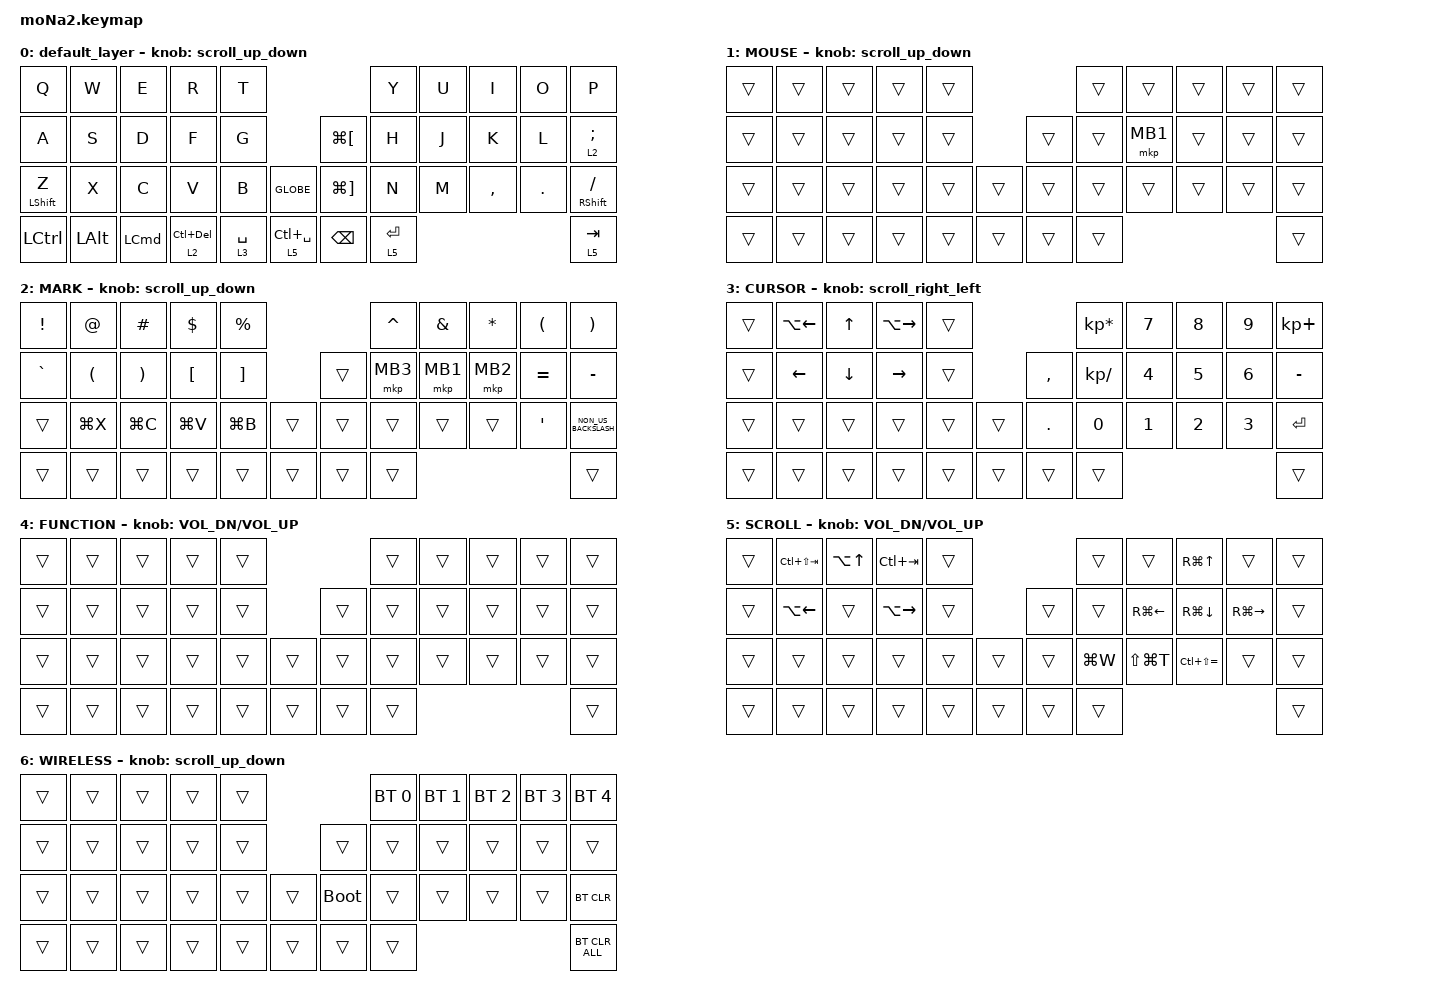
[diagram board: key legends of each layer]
#include <input/processors.dtsi>
#include <dt-bindings/zmk/input_transform.h>
#include <zephyr/dt-bindings/input/input-event-codes.h>
#include <behaviors.dtsi>
#include <dt-bindings/zmk/bt.h>
#include <dt-bindings/zmk/keys.h>
#include <dt-bindings/zmk/pointing.h>

#define ZMK_POINTING_DEFAULT_SCRL_VAL 100
#define MOUSE 1
#define MARK 2
#define CURSOR 3
#define FUNCTION 4
#define SCROLL 5
#define WIRELESS 6

&mt {
    flavor = "balanced";
    quick-tap-ms = <0>;
};

&lt {
    quick-tap-ms = <300>;
    flavor = "balanced";
};

/ {
    input_processors {
        zip_wheel_scaler: zip_wheel_scaler {
            compatible = "zmk,input-processor-scaler";
            #input-processor-cells = <2>;
            type = <INPUT_EV_REL>;
            codes = <INPUT_REL_WHEEL>;
            track-remainders;
        };
    };
};

&trackball_central_listener {
    scroller {
        layers = <SCROLL>;
        input-processors = <&zip_xy_to_scroll_mapper>, <&zip_wheel_scaler 1 2>;
    };
};

/ {
    combos {
        compatible = "zmk,combos";

        layer6_ESC {
            bindings = <&lt 6 ESC>;
            key-positions = <39 38>;
        };

        MiddleClick {
            bindings = <&mkp MB3>;
            key-positions = <17 18>;
        };

        RightClick {
            bindings = <&mkp MB2>;
            key-positions = <18 19>;
        };

        Hankaku {
            bindings = <&kp LC(SPACE)>;
            key-positions = <33 37>;
            timeout-ms = <50>;
        };
    };

    macros {
        to_layer_0: to_layer_0 {
            compatible = "zmk,behavior-macro-one-param";
            #binding-cells = <1>;
            bindings = <&to 0 &macro_param_1to1 &kp MACRO_PLACEHOLDER>;
            label = "TO_LAYER_0";
        };
    };

    behaviors {
        lt_to_layer_0: lt_to_layer_0 {
            compatible = "zmk,behavior-hold-tap";
            label = "LAYER_TAP_TO_0";
            bindings = <&mo>, <&to_layer_0>;

            #binding-cells = <2>;
            tapping-term-ms = <200>;
            flavor = "tap-preferred";
        };

        lt_space: lt_space {
            compatible = "zmk,behavior-hold-tap";
            label = "LT_SPACE";
            bindings = <&mo>, <&kp>;

            #binding-cells = <2>;
            tapping-term-ms = <230>;
            flavor = "tap-preferred";
        };

        scroll_up_down: mouse_wheel_up_down {
            compatible = "zmk,behavior-sensor-rotate";
            #sensor-binding-cells = <0>;
            bindings = <&msc SCRL_UP>, <&msc SCRL_DOWN>;

            tap-ms = <20>;
        };

        scroll_right_left: mouse_wheel_right_left {
            compatible = "zmk,behavior-sensor-rotate";
            #sensor-binding-cells = <0>;
            bindings = <&msc SCRL_LEFT>, <&msc SCRL_RIGHT>;

            tap-ms = <20>;
        };
    };

    keymap {
        compatible = "zmk,keymap";

        default_layer {
            bindings = <
&kp Q             &kp W         &kp E             &kp R                        &kp T                                                                   &kp Y                   &kp U  &kp I      &kp O    &kp P
&kp A             &kp S         &kp D             &kp F                        &kp G                                            &kp LG(LEFT_BRACKET)   &kp H                   &kp J  &kp K      &kp L    &lt_to_layer_0 2 SEMICOLON
&mt LEFT_SHIFT Z  &kp X         &kp C             &kp V                        &kp B              &kp GLOBE                     &kp LG(RIGHT_BRACKET)  &kp N                   &kp M  &kp COMMA  &kp DOT  &mt RIGHT_SHIFT SLASH
&kp LCTRL         &kp LEFT_ALT  &kp LEFT_COMMAND  &lt_to_layer_0 2 LC(DELETE)  &lt_space 3 SPACE  &lt_to_layer_0 5 LC(SPACE)    &kp BACKSPACE          &lt_to_layer_0 5 ENTER                             &lt_to_layer_0 5 TAB
            >;

            sensor-bindings = <&scroll_up_down>;
        };

        MOUSE {
            bindings = <
&trans  &trans  &trans  &trans  &trans                    &trans  &trans    &trans  &trans  &trans
&trans  &trans  &trans  &trans  &trans            &trans  &trans  &mkp MB1  &trans  &trans  &trans
&trans  &trans  &trans  &trans  &trans  &trans    &trans  &trans  &trans    &trans  &trans  &trans
&trans  &trans  &trans  &trans  &trans  &trans    &trans  &trans                            &trans
            >;

            sensor-bindings = <&scroll_up_down>;
        };

        MARK {
            bindings = <
&kp EXCLAMATION  &kp AT_SIGN           &kp POUND              &kp DOLLAR        &kp PERCENT                          &kp CARET  &kp AMPERSAND  &kp ASTERISK  &kp LEFT_PARENTHESIS  &kp RIGHT_PARENTHESIS
&kp GRAVE        &kp LEFT_PARENTHESIS  &kp RIGHT_PARENTHESIS  &kp LEFT_BRACKET  &kp RIGHT_BRACKET            &trans  &mkp MB3   &mkp MB1       &mkp MB2      &kp EQUAL             &kp MINUS
&trans           &kp LG(X)             &kp LG(C)              &kp LG(V)         &kp LG(B)          &trans    &trans  &trans     &trans         &trans        &kp SQT               &kp NON_US_BACKSLASH
&trans           &trans                &trans                 &trans            &trans             &trans    &trans  &trans                                                        &trans
            >;

            sensor-bindings = <&scroll_up_down>;
        };

        CURSOR {
            bindings = <
&trans  &kp LA(LEFT)  &kp UP    &kp LA(RIGHT)  &trans                        &kp KP_MULTIPLY  &kp NUMBER_7  &kp NUMBER_8  &kp NUMBER_9  &kp KP_PLUS
&trans  &kp LEFT      &kp DOWN  &kp RIGHT      &trans            &kp COMMA   &kp KP_SLASH     &kp NUMBER_4  &kp N5        &kp NUMBER_6  &kp MINUS
&trans  &trans        &trans    &trans         &trans  &trans    &kp PERIOD  &kp N0           &kp NUMBER_1  &kp NUMBER_2  &kp NUMBER_3  &kp ENTER
&trans  &trans        &trans    &trans         &trans  &trans    &trans      &trans                                                     &trans
            >;

            sensor-bindings = <&scroll_right_left>;
        };

        FUNCTION {
            bindings = <
&trans  &trans  &trans  &trans  &trans                    &trans  &trans  &trans  &trans  &trans
&trans  &trans  &trans  &trans  &trans            &trans  &trans  &trans  &trans  &trans  &trans
&trans  &trans  &trans  &trans  &trans  &trans    &trans  &trans  &trans  &trans  &trans  &trans
&trans  &trans  &trans  &trans  &trans  &trans    &trans  &trans                          &trans
            >;

            sensor-bindings = <&inc_dec_kp C_VOL_DN C_VOL_UP>;
        };

        SCROLL {
            bindings = <
&trans  &kp LC(LS(TAB))     &kp LA(UP_ARROW)  &kp LC(TAB)    &trans                    &trans     &trans         &kp RG(UP_ARROW)   &trans         &trans
&trans  &kp LA(LEFT_ARROW)  &trans            &kp LA(RIGHT)  &trans            &trans  &trans     &kp RG(LEFT)   &kp RG(DOWN)       &kp RG(RIGHT)  &trans
&trans  &trans              &trans            &trans         &trans  &trans    &trans  &kp LG(W)  &kp LS(LG(T))  &kp LC(LS(EQUAL))  &trans         &trans
&trans  &trans              &trans            &trans         &trans  &trans    &trans  &trans                                                      &trans
            >;

            sensor-bindings = <&inc_dec_kp C_VOL_DN C_VOLUME_UP>;
        };

        WIRELESS {
            bindings = <
&trans  &trans  &trans  &trans  &trans                         &bt BT_SEL 0  &bt BT_SEL 1  &bt BT_SEL 2  &bt BT_SEL 3  &bt BT_SEL 4
&trans  &trans  &trans  &trans  &trans            &trans       &trans        &trans        &trans        &trans        &trans
&trans  &trans  &trans  &trans  &trans  &trans    &bootloader  &trans        &trans        &trans        &trans        &bt BT_CLR
&trans  &trans  &trans  &trans  &trans  &trans    &trans       &trans                                                  &bt BT_CLR_ALL
            >;

            sensor-bindings = <&scroll_up_down>;
        };
    };
};
